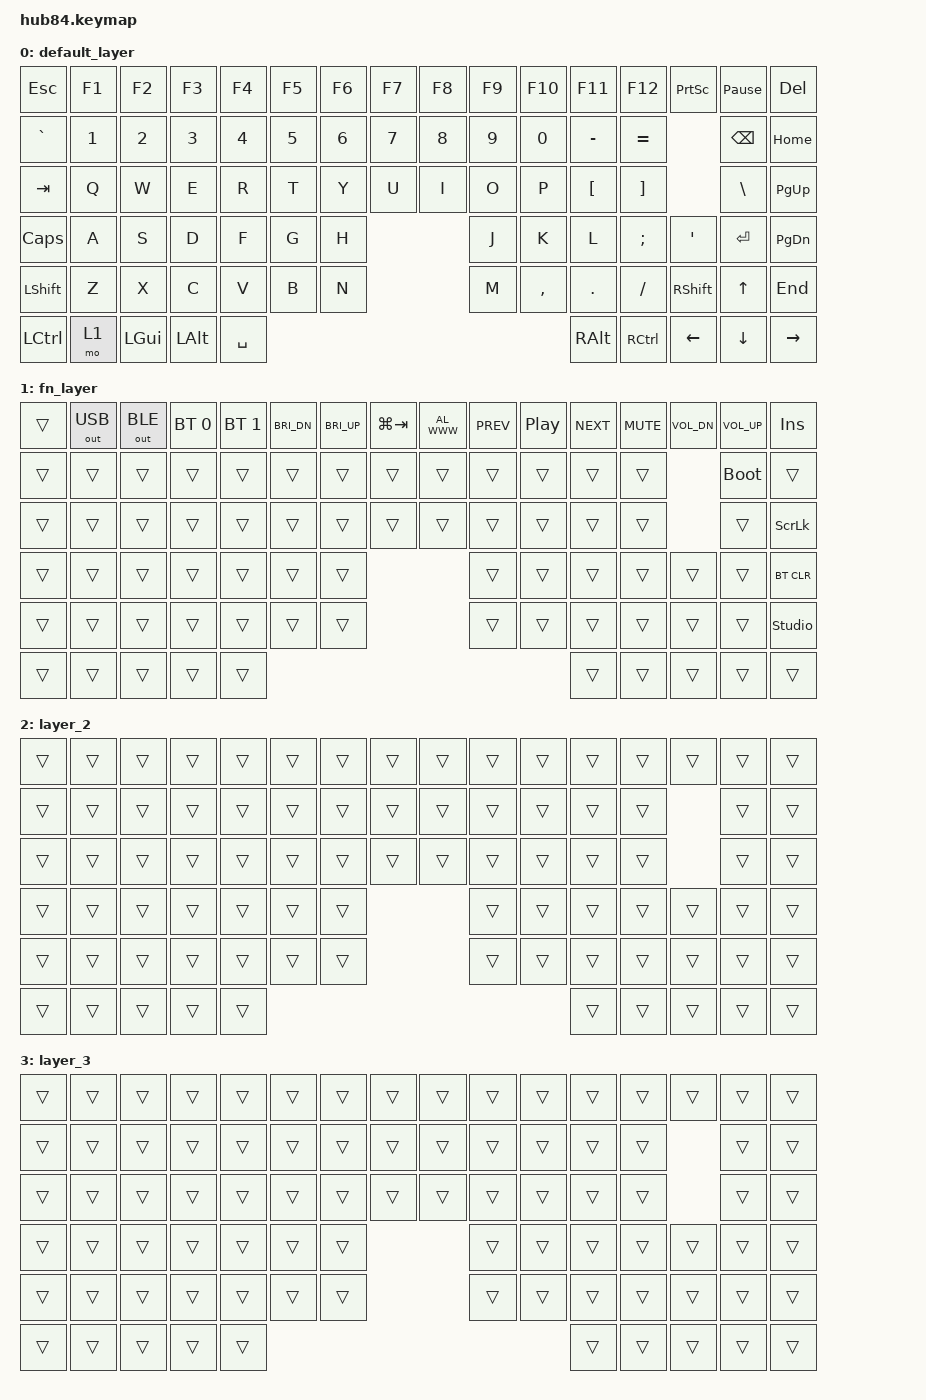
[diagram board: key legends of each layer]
/* hub84.keymap */
#include <behaviors.dtsi>
#include <dt-bindings/zmk/keys.h>
#include <dt-bindings/zmk/bt.h>
#include <dt-bindings/zmk/outputs.h>
#include <dt-bindings/zmk/ext_power.h>

/ {
    keymap {
        compatible = "zmk,keymap";

        default_layer {
            bindings = <
    &kp ESC   &kp F1    &kp F2    &kp F3    &kp F4    &kp F5    &kp F6    &kp F7    &kp F8    &kp F9    &kp F10   &kp F11   &kp F12   &kp PSCRN &kp PAUSE_BREAK &kp DEL
    &kp GRAVE &kp N1    &kp N2    &kp N3    &kp N4    &kp N5    &kp N6    &kp N7    &kp N8    &kp N9    &kp N0    &kp MINUS &kp EQUAL           &kp BSPC  &kp HOME
    &kp TAB   &kp Q     &kp W     &kp E     &kp R     &kp T     &kp Y     &kp U     &kp I     &kp O     &kp P     &kp LBKT  &kp RBKT            &kp BSLH  &kp PG_UP
    &kp CLCK  &kp A     &kp S     &kp D     &kp F     &kp G     &kp H     &kp J     &kp K     &kp L     &kp SEMI  &kp SQT                       &kp RET   &kp PG_DN
    &kp LSHFT &kp Z     &kp X     &kp C     &kp V     &kp B     &kp N     &kp M     &kp COMMA &kp DOT   &kp FSLH                      &kp RSHFT &kp UP    &kp END
    &kp LCTRL &mo 1     &kp LGUI  &kp LALT                                &kp SPACE                               &kp RALT  &kp RCTRL &kp LEFT  &kp DOWN  &kp RIGHT
            >;
        };

        fn_layer {
            bindings = <
    &trans &out OUT_USB &out OUT_BLE &bt BT_SEL 0 &bt BT_SEL 1 &kp C_BRI_DN &kp C_BRI_UP &kp LG(TAB) &kp C_AL_WWW &kp C_PREV &kp C_PP &kp C_NEXT &kp C_MUTE &kp C_VOL_DN &kp C_VOL_UP &kp INS
    &trans &trans &trans &trans &trans &trans &trans &trans &trans &trans &trans &trans &trans &bootloader &trans
    &trans &trans &trans &trans &trans &trans &trans &trans &trans &trans &trans &trans &trans &trans &kp SLCK
    &trans &trans &trans &trans &trans &trans &trans &trans &trans &trans &trans &trans &trans &bt BT_CLR
    &trans &trans &trans &trans &trans &trans &trans &trans &trans &trans &trans &trans &trans &studio_unlock
    &trans &trans &trans &trans                                 &trans                                  &trans    &trans    &trans    &trans    &trans
            >;
        };

        layer_2 {
            bindings = <
    &trans &trans &trans &trans &trans &trans &trans &trans &trans &trans &trans &trans &trans &trans &trans &trans
    &trans &trans &trans &trans &trans &trans &trans &trans &trans &trans &trans &trans &trans        &trans &trans
    &trans &trans &trans &trans &trans &trans &trans &trans &trans &trans &trans &trans &trans        &trans &trans
    &trans &trans &trans &trans &trans &trans &trans &trans &trans &trans &trans &trans               &trans &trans
    &trans &trans &trans &trans &trans &trans &trans &trans &trans &trans &trans               &trans &trans &trans
    &trans &trans &trans &trans                                 &trans                                  &trans    &trans    &trans    &trans    &trans
            >;
        };

        layer_3 {
            bindings = <
    &trans &trans &trans &trans &trans &trans &trans &trans &trans &trans &trans &trans &trans &trans &trans &trans
    &trans &trans &trans &trans &trans &trans &trans &trans &trans &trans &trans &trans &trans        &trans &trans
    &trans &trans &trans &trans &trans &trans &trans &trans &trans &trans &trans &trans &trans        &trans &trans
    &trans &trans &trans &trans &trans &trans &trans &trans &trans &trans &trans &trans               &trans &trans
    &trans &trans &trans &trans &trans &trans &trans &trans &trans &trans &trans               &trans &trans &trans
    &trans &trans &trans &trans                                 &trans                                  &trans    &trans    &trans    &trans    &trans
            >;
        };
    };
};
